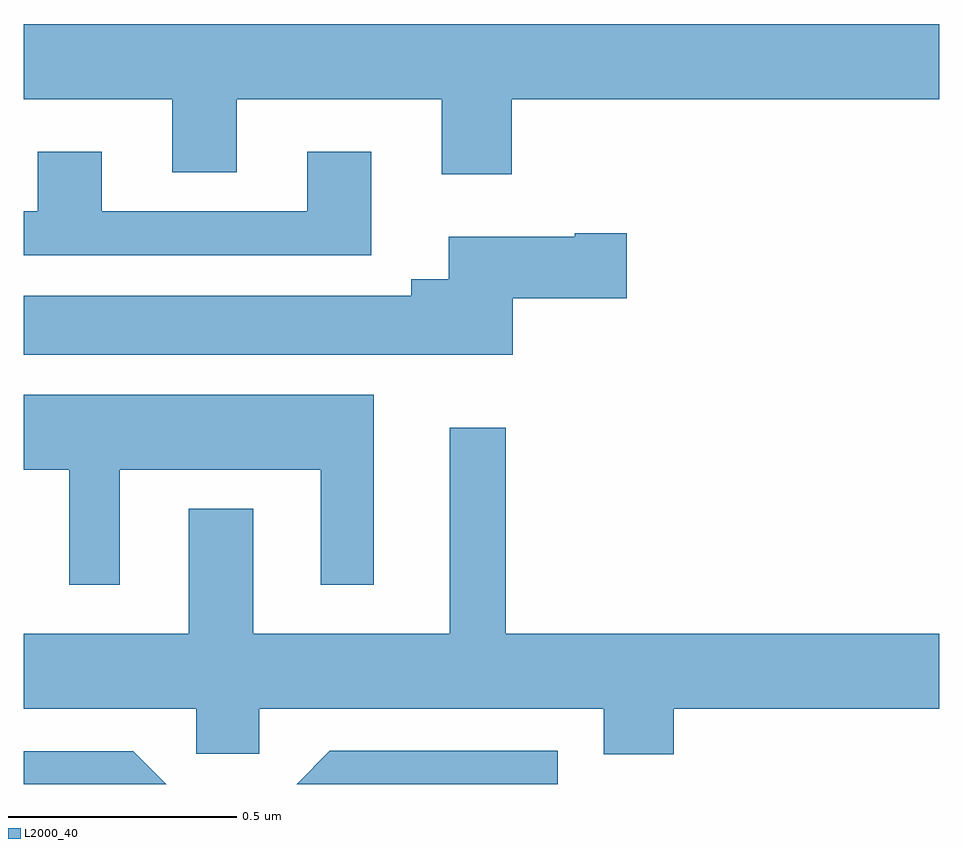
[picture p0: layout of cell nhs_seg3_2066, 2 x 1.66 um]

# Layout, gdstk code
import gdstk
lib = gdstk.Library(unit=1e-6, precision=1e-09)
def P(c, l, *ps):  # polygons
    for p in ps: c.add(gdstk.Polygon(p, *l))
L2000_40 = (2000, 40)

nhs_seg3_2066 = lib.new_cell('nhs_seg3_2066')
P(nhs_seg3_2066, L2000_40, [(137.066,720.896),(138,720.896),(138,721.06),(136,721.06),(136,720.896),(136.325,720.896),(136.325,720.736),(136.465,720.736),(136.465,720.896),(136.913,720.896),(136.913,720.732),(137.066,720.732)],
  [(136.759,720.781),(136.619,720.781),(136.619,720.651),(136.171,720.651),(136.171,720.781),(136.031,720.781),(136.031,720.651),(136,720.651),(136,720.555),(136.759,720.555)],
  [(137.068,720.461),(137.317,720.461),(137.317,720.603),(137.204,720.603),(137.204,720.595),(136.928,720.595),(136.928,720.502),(136.847,720.502),(136.847,720.466),(136,720.466),(136,720.338),(137.068,720.338)],
  [(136.21,720.086),(136.649,720.086),(136.649,719.835),(136.765,719.835),(136.765,720.25),(136,720.25),(136,720.086),(136.1,720.086),(136.1,719.835),(136.21,719.835)],
  [(137.053,720.178),(136.931,720.178),(136.931,719.728),(136.501,719.728),(136.501,720.001),(136.361,720.001),(136.361,719.728),(136,719.728),(136,719.564),(136.377,719.564),(136.377,719.466),(136.515,719.466),(136.515,719.564),(137.267,719.564),(137.267,719.465),(137.42,719.465),(137.42,719.564),(138,719.564),(138,719.728),(137.053,719.728)],
  [(137.166,719.473),(136.669,719.473),(136.596,719.4),(137.166,719.4)],
  [(136.239,719.472),(136,719.472),(136,719.4),(136.311,719.4)])

lib.write_gds('nhs_seg3_2066.gds')
